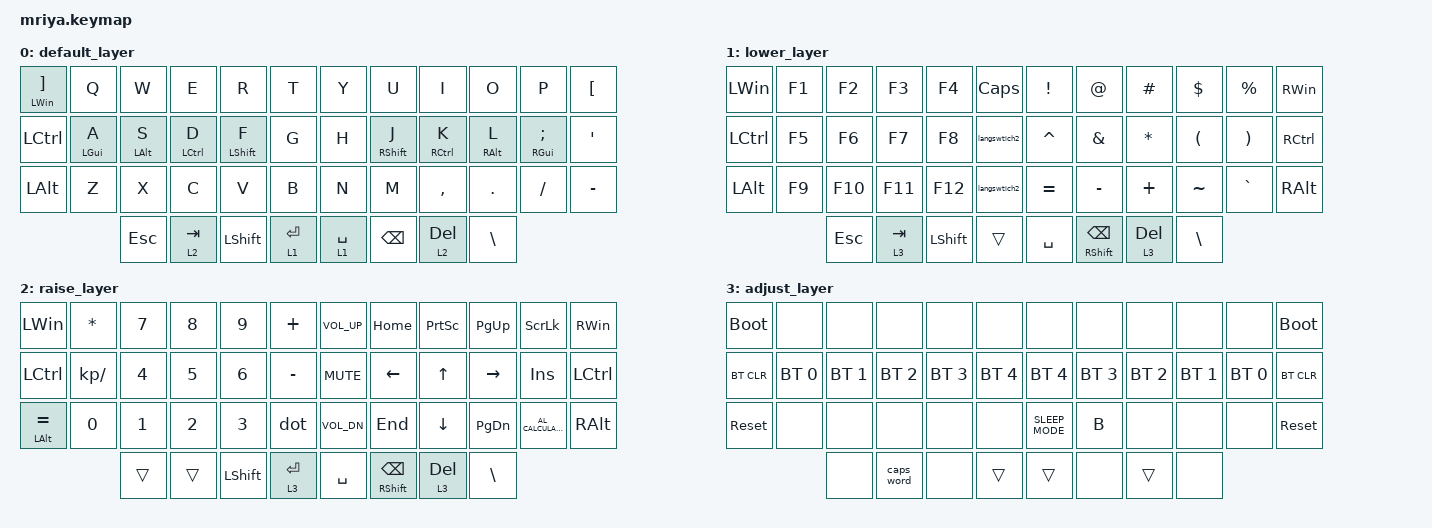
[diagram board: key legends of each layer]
/*
 * Copyright (c) 2023 Andrei Gaevskii
 *
 * SPDX-License-Identifier: MIT
 */

#include <behaviors.dtsi>
#include <dt-bindings/zmk/bt.h>
#include <dt-bindings/zmk/keys.h>

#define DEF 0
#define LWR 1
#define RSE 2
#define ADJ 3

&lt {
    quick_tap_ms = <200>;
    tapping-term-ms = <140>;
};

&mt {
    quick_tap_ms = <15>;
    tapping-term-ms = <150>;
};

/ {
    combos {
        compatible = "zmk,combos";

        firefox {
            bindings = <&kp LS(LA(LC(NUMBER_1)))>;
            key-positions = <15 16 17>;
        };

        delete {
            bindings = <&kp DEL>;
            key-positions = <4 17>;
        };

        minusexcel {
            bindings = <&kp LC(MINUS)>;
            key-positions = <1 2>;
        };

        minusgoogkle {
            bindings = <&MinusG>;
            key-positions = <0 1>;
        };

        space {
            bindings = <&kp SPACE>;
            key-positions = <3 5>;
        };

        UPUI {
            bindings = <&kp PAGE_UP>;
            key-positions = <2 3 4>;
        };

        DOWNj {
            bindings = <&kp PAGE_DOWN>;
            key-positions = <14 15 16>;
        };

        DelWord {
            bindings = <&kp LC(BACKSPACE)>;
            key-positions = <6 7 8>;
        };

        LAYER4 {
            bindings = <&sl 0>;
            key-positions = <6 8>;
        };

        HomeCTRL {
            bindings = <&kp LC(HOME)>;
            key-positions = <2 4>;
        };

        EndCTRL {
            bindings = <&kp LC(END)>;
            key-positions = <2 4>;
        };
    };

    behaviors {
        dot: dot {
            compatible = "zmk,behavior-tap-dance";
            label = "DOT";
            #binding-cells = <0>;
            bindings = <&kp DOT>, <&kp LS(SLASH)>, <&kp COMMA>;

            tapping-term-ms = <250>;
        };

        hmr_right: hmr_right {
            compatible = "zmk,behavior-hold-tap";
            label = "HMR_RIGHT";
            bindings = <&kp>, <&kp>;

            #binding-cells = <2>;
            hold-trigger-key-positions = <14 0 1 5 12 13 14 15 16 17 24 25 26 27 28 29 36 37 38 0 1 2 3 4 5 12 13 14 15 16 17 24 25 26 27 28 29 36 37 38 39 40 41 42 43>;
            tapping-term-ms = <280>;
            flavor = "balanced";
            quick-tap-ms = <175>;
        };

        hmr_left: hmr_left {
            compatible = "zmk,behavior-hold-tap";
            label = "HMR_left";
            bindings = <&kp>, <&kp>;

            #binding-cells = <2>;
            tapping-term-ms = <280>;
            hold-trigger-key-positions = <6 7 8 9 10 18 19 20 21 22 30 31 32 33 34 40 41 42 43 11 23 35 36 37 38 39>;
            flavor = "balanced";
            quick-tap-ms = <175>;
        };
    };

    macros {
        langswtich2: langswtich2 {
            compatible = "zmk,behavior-macro";
            #binding-cells = <0>;
            bindings =
                <&macro_press>,
                <&kp LEFT_ALT>,
                <&macro_tap>,
                <&kp LEFT_SHIFT>,
                <&macro_release>,
                <&kp LEFT_ALT>;

            label = "LANGSWTICH2";
        };

        MinusG: MinusG {
            compatible = "zmk,behavior-macro";
            #binding-cells = <0>;
            bindings =
                <&macro_press>,
                <&kp RIGHT_ALT>,
                <&macro_press>,
                <&kp RCTRL>,
                <&macro_tap>,
                <&kp MINUS>,
                <&macro_release>,
                <&kp RIGHT_ALT &kp RCTRL &kp MINUS>;

            label = "MINUSG";
        };
    };

    keymap {
        compatible = "zmk,keymap";

        default_layer {
            bindings = <
  &mt LEFT_WIN RIGHT_BRACKET  &kp Q                 &kp W                 &kp E              &kp R             &kp T        &kp Y        &kp U                     &kp I               &kp O                   &kp P                      &kp LBKT
  &kp LCTRL                   &hmr_left LEFT_GUI A  &hmr_left LEFT_ALT S  &hmr_left LCTRL D  &mt LEFT_SHIFT F  &kp G        &kp H        &hmr_right RIGHT_SHIFT J  &hmr_right RCTRL K  &hmr_right RIGHT_ALT L  &hmr_right RIGHT_GUI SEMI  &kp SQT
  &kp LALT                    &kp Z                 &kp X                 &kp C              &kp V             &kp B        &kp N        &kp M                     &kp COMMA           &kp DOT                 &kp SLASH                  &kp MINUS
                                                    &kp ESCAPE            &lt 2 TAB          &kp LEFT_SHIFT    &lt 1 RET    &lt 1 SPACE  &kp BACKSPACE             &lt 2 DEL           &kp BACKSLASH
            >;
        };

        lower_layer {
            bindings = <
  &kp LEFT_WIN  &kp F1  &kp F2      &kp F3     &kp F4          &kp CAPSLOCK    &kp EXCLAMATION  &kp AT_SIGN                &kp HASH   &kp DOLLAR     &kp PERCENT  &kp RWIN
  &kp LCTRL     &kp F5  &kp F6      &kp F7     &kp F8          &langswtich2    &kp CARET        &kp AMPS                   &kp STAR   &kp LPAR       &kp RPAR     &kp RCTRL
  &kp LEFT_ALT  &kp F9  &kp F10     &kp F11    &kp F12         &langswtich2    &kp EQUAL        &kp MINUS                  &kp PLUS   &kp TILDE      &kp GRAVE    &kp RIGHT_ALT
                        &kp ESCAPE  &lt 3 TAB  &kp LEFT_SHIFT  &trans          &kp SPACE        &mt RIGHT_SHIFT BACKSPACE  &lt 3 DEL  &kp BACKSLASH
            >;
        };

        raise_layer {
            bindings = <
  &kp LEFT_WIN        &kp ASTERISK  &kp NUMBER_7  &kp NUMBER_8  &kp NUMBER_9    &kp PLUS     &kp C_VOL_UP  &kp HOME                   &kp PSCRN     &kp PG_UP      &kp SLCK             &kp RWIN
  &kp LCTRL           &kp KP_SLASH  &kp NUMBER_4  &kp N5        &kp NUMBER_6    &kp MINUS    &kp C_MUTE    &kp LEFT                   &kp UP        &kp RIGHT      &kp INS              &kp LCTRL
  &mt LEFT_ALT EQUAL  &kp N0        &kp NUMBER_1  &kp NUMBER_2  &kp NUMBER_3    &dot         &kp C_VOL_DN  &kp END                    &kp DOWN      &kp PG_DN      &kp C_AL_CALCULATOR  &kp RIGHT_ALT
                                    &trans        &trans        &kp LEFT_SHIFT  &lt 3 RET    &kp SPACE     &mt RIGHT_SHIFT BACKSPACE  &lt 3 DELETE  &kp BACKSLASH
            >;
        };

        adjust_layer {
            bindings = <
  &bootloader  &none         &none         &none         &none         &none           &none             &none         &none         &none         &none         &bootloader
  &bt BT_CLR   &bt BT_SEL 0  &bt BT_SEL 1  &bt BT_SEL 2  &bt BT_SEL 3  &bt BT_SEL 4    &bt BT_SEL 4      &bt BT_SEL 3  &bt BT_SEL 2  &bt BT_SEL 1  &bt BT_SEL 0  &bt BT_CLR
  &sys_reset   &none         &none         &none         &none         &none           &kp C_SLEEP_MODE  &kp B         &none         &none         &none         &sys_reset
                             &none         &caps_word    &none         &trans          &trans            &none         &trans        &none
            >;
        };
    };
};
